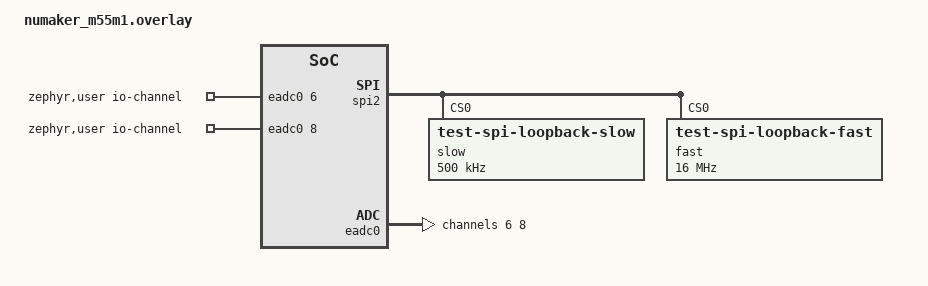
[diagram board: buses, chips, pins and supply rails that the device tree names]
/* SPDX-License-Identifier: Apache-2.0 */

&pinctrl {
	/* EVB's NU5: SS/CLK/MISO/MOSI */
	spi2_default: spi2_default {
		group0 {
			pinmux = <PA11MFP_SPI2_SS>,
				 <PA10MFP_SPI2_CLK>,
				 <PA9MFP_SPI2_MISO>,
				 <PA8MFP_SPI2_MOSI>;
		};
	};
};

&spi2 {
	slow@0 {
		compatible = "test-spi-loopback-slow";
		reg = <0>;
		spi-max-frequency = <DT_FREQ_K(500)>;
	};

	fast@0 {
		compatible = "test-spi-loopback-fast";
		reg = <0>;
		spi-max-frequency = <DT_FREQ_M(16)>;
	};

	status = "okay";
	pinctrl-0 = <&spi2_default>;
	pinctrl-names = "default";
};

/ {
	zephyr,user {
		io-channels = <&eadc0 6>, <&eadc0 8>;
	};
};

&pinctrl {
	eadc0_default: eadc0_default {
		group0 {
			pinmux = <PB6MFP_EADC0_CH6>, <PB8MFP_EADC0_CH8>;
		};
	};
};

&eadc0 {
	status = "okay";
	pinctrl-0 = <&eadc0_default>;
	pinctrl-names = "default";
	#address-cells = <1>;
	#size-cells = <0>;
	channel@6 {
		reg = <6>;
		zephyr,gain = "ADC_GAIN_1";
		zephyr,reference = "ADC_REF_INTERNAL";
		zephyr,acquisition-time = <ADC_ACQ_TIME_DEFAULT>;
		zephyr,resolution = <10>;
	};
	channel@8 {
		reg = <8>;
		zephyr,gain = "ADC_GAIN_1";
		zephyr,reference = "ADC_REF_INTERNAL";
		zephyr,acquisition-time = <ADC_ACQ_TIME_DEFAULT>;
		zephyr,resolution = <10>;
	};
};
